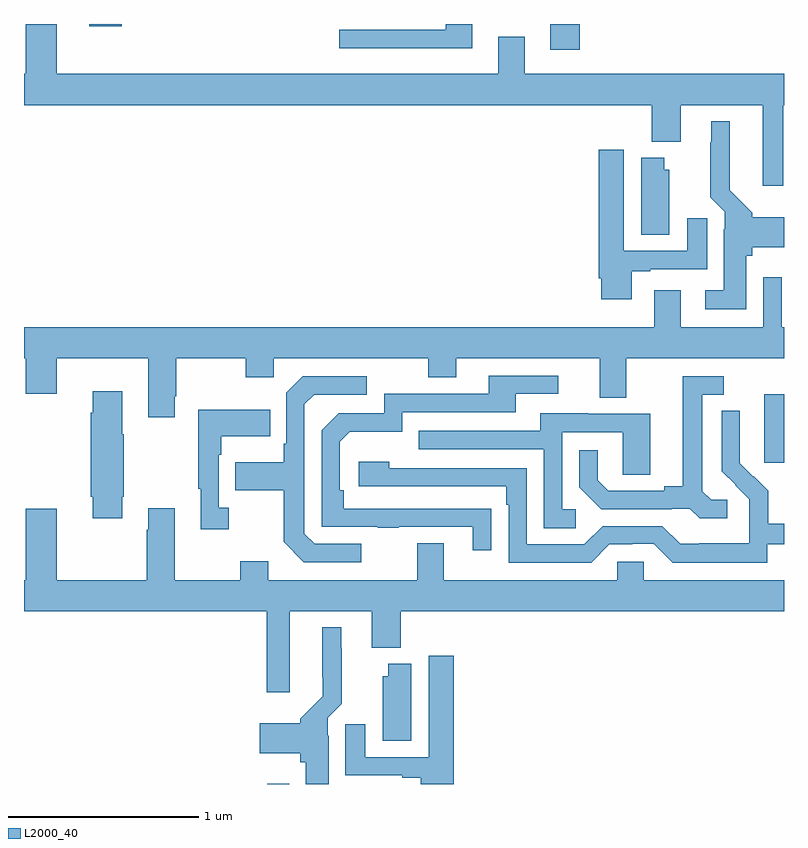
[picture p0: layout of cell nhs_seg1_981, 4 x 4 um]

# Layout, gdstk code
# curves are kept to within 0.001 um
import gdstk
lib = gdstk.Library(unit=1e-6, precision=1e-09)
def R(c, l, rs):  # rectangles x0, y0, x1, y1
    for r in rs: c.add(gdstk.rectangle(r[:2], r[2:], *l))
def P(c, l, *ps):  # polygons
    for p in ps: c.add(gdstk.Polygon(p, *l))
L2000_40 = (2000, 40)

nhs_seg1_981 = lib.new_cell('nhs_seg1_981')
R(nhs_seg1_981, L2000_40, [(166.279,508.199,166.395,508.201), (168.896,509.889,169,510.25), (167.771,512.064,167.924,512.199), (165.344,512.187,165.515,512.199)])
P(nhs_seg1_981, L2000_40, [(167.359,512.199),(167.219,512.199),(167.219,512.169),(166.659,512.169),(166.659,512.072),(167.359,512.072)],
  [(168.997,511.772),(169,511.772),(169,511.936),(167.635,511.936),(167.635,512.131),(167.495,512.131),(167.495,511.936),(165.172,511.936),(165.172,512.199),(165.008,512.199),(165.008,511.936),(165,511.936),(165,511.772),(168.305,511.772),(168.305,511.58),(168.457,511.58),(168.457,511.772),(168.887,511.772),(168.887,511.347),(168.997,511.347)],
  [(168.802,510.978),(168.833,510.978),(168.833,511.025),(169,511.025),(169,511.183),(168.833,511.183),(168.833,511.206),(168.715,511.324),(168.715,511.687),(168.617,511.687),(168.617,511.577),(168.613,511.577),(168.613,511.286),(168.687,511.212),(168.687,511.118),(168.683,511.118),(168.683,510.799),(168.585,510.799),(168.585,510.698),(168.802,510.698)],
  [(168.199,510.897),(168.295,510.897),(168.295,510.909),(168.595,510.909),(168.595,511.177),(168.491,511.177),(168.491,511.005),(168.157,511.005),(168.157,511.537),(168.026,511.537),(168.026,510.862),(168.038,510.862),(168.038,510.75),(168.199,510.75)],
  [(168.397,511.431),(168.37,511.431),(168.37,511.495),(168.248,511.495),(168.248,511.09),(168.397,511.09)],
  [(165.793,510.241),(165.801,510.241),(165.801,510.44),(166.168,510.44),(166.168,510.341),(166.314,510.341),(166.314,510.44),(167.128,510.44),(167.128,510.341),(167.275,510.341),(167.275,510.44),(168.029,510.44),(168.029,510.232),(168.169,510.232),(168.169,510.44),(169,510.44),(169,510.604),(168.989,510.604),(168.989,510.865),(168.891,510.865),(168.891,510.604),(168.457,510.604),(168.457,510.799),(168.317,510.799),(168.317,510.604),(165,510.604),(165,510.44),(165.008,510.44),(165.008,510.252),(165.172,510.252),(165.172,510.44),(165.653,510.44),(165.653,510.129),(165.793,510.129)],
  [(167.459,509.648),(166.682,509.649),(166.682,509.746),(166.662,509.746),(166.662,510),(166.715,510.053),(166.992,510.053),(166.992,510.156),(167.587,510.156),(167.587,510.252),(167.812,510.252),(167.812,510.348),(167.447,510.348),(167.447,510.252),(166.896,510.252),(166.896,510.15),(166.656,510.15),(166.566,510.06),(166.566,509.553),(166.861,509.553),(166.861,509.548),(166.973,509.548),(166.973,509.553),(167.363,509.553),(167.363,509.43),(167.459,509.43)],
  [(168.7,509.694),(168.618,509.694),(168.571,509.741),(168.571,510.249),(168.682,510.249),(168.682,510.345),(168.467,510.345),(168.467,509.765),(168.371,509.765),(168.371,509.742),(168.076,509.742),(168.019,509.799),(168.019,509.956),(167.922,509.956),(167.922,509.762),(168.038,509.646),(168.41,509.646),(168.41,509.649),(168.504,509.649),(168.556,509.597),(168.7,509.597)],
  [(166.774,509.463),(166.53,509.463),(166.476,509.517),(166.476,510.198),(166.527,510.249),(166.804,510.249),(166.804,510.345),(166.467,510.345),(166.38,510.258),(166.38,509.989),(166.368,509.989),(166.368,509.893),(166.111,509.893),(166.111,509.746),(166.368,509.746),(166.368,509.473),(166.473,509.367),(166.774,509.367)],
  [(165.517,509.71),(165.525,509.71),(165.525,510.041),(165.517,510.041),(165.517,510.265),(165.362,510.265),(165.362,510.152),(165.35,510.152),(165.35,509.71),(165.362,509.71),(165.362,509.598),(165.517,509.598)],
  [(166.078,509.654),(166.026,509.654),(166.026,509.933),(166.039,509.933),(166.039,510.029),(166.295,510.029),(166.295,510.169),(165.918,510.169),(165.918,509.753),(165.929,509.753),(165.929,509.541),(166.078,509.541)],
  [(168.912,509.46),(169,509.46),(169,509.569),(168.917,509.569),(168.917,509.743),(168.84,509.82),(168.837,509.817),(168.767,509.888),(168.768,510.164),(168.672,510.164),(168.672,509.846),(168.818,509.698),(168.818,509.601),(168.816,509.601),(168.816,509.467),(168.553,509.467),(168.553,509.463),(168.453,509.463),(168.36,509.556),(168.045,509.556),(167.949,509.46),(167.646,509.46),(167.646,509.862),(166.922,509.862),(166.922,509.896),(166.761,509.896),(166.761,509.766),(167.537,509.766),(167.537,509.669),(167.55,509.669),(167.55,509.364),(167.985,509.364),(168.081,509.46),(168.2,509.46),(168.2,509.463),(168.315,509.463),(168.415,509.363),(168.912,509.363)],
  [(167.905,509.646),(167.832,509.646),(167.832,510.051),(168.15,510.051),(168.15,509.827),(168.295,509.827),(168.295,510.147),(167.971,510.147),(167.971,510.151),(167.717,510.151),(167.717,510.057),(167.077,510.057),(167.077,509.961),(167.736,509.961),(167.736,509.545),(167.905,509.545)],
  [(166.399,509.108),(166.829,509.108),(166.829,508.916),(166.982,508.916),(166.982,509.108),(169,509.108),(169,509.272),(168.261,509.272),(168.261,509.37),(168.123,509.37),(168.123,509.272),(167.209,509.272),(167.209,509.467),(167.069,509.467),(167.069,509.272),(166.285,509.272),(166.285,509.371),(166.138,509.371),(166.138,509.272),(165.793,509.272),(165.793,509.65),(165.653,509.65),(165.653,509.537),(165.646,509.537),(165.646,509.272),(165.172,509.272),(165.172,509.647),(165.008,509.647),(165.008,509.272),(165,509.272),(165,509.108),(166.277,509.108),(166.277,508.683),(166.399,508.683)],
  [(166.603,508.454),(166.599,508.454),(166.599,508.548),(166.673,508.622),(166.673,508.913),(166.669,508.913),(166.669,509.023),(166.571,509.023),(166.572,508.66),(166.454,508.542),(166.454,508.519),(166.242,508.519),(166.242,508.361),(166.454,508.361),(166.454,508.314),(166.484,508.314),(166.484,508.199),(166.603,508.199)],
  [(167.261,508.873),(167.129,508.873),(167.129,508.341),(166.795,508.341),(166.795,508.513),(166.691,508.513),(166.691,508.245),(166.991,508.245),(166.991,508.233),(167.087,508.233),(167.087,508.199),(167.261,508.199)],
  [(167.038,508.831),(166.916,508.831),(166.916,508.767),(166.889,508.767),(166.889,508.426),(167.038,508.426)])

lib.write_gds('nhs_seg1_981.gds')
